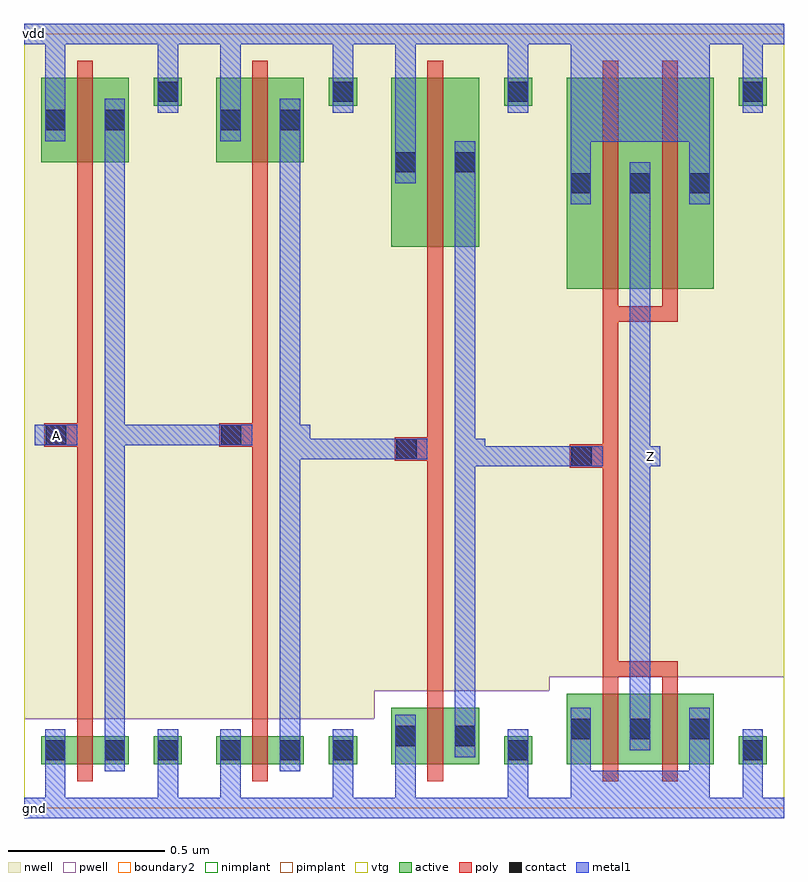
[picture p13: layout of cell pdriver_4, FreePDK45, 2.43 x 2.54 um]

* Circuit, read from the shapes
.subckt pdriver_4 A Z gnd vdd
M1 pinv_8_1/A A gnd gnd nfet w=0.09u l=0.05u
M2 pinv_6_2/A pinv_8_1/A gnd gnd nfet w=0.09u l=0.05u
M3 pinv_15_3/A pinv_6_2/A gnd gnd nfet w=0.18u l=0.05u
M4 Z pinv_15_3/A gnd gnd nfet w=0.225u l=0.05u m=2
M5 pinv_8_1/A A vdd vdd pfet w=0.27u l=0.05u
M6 pinv_6_2/A pinv_8_1/A vdd vdd pfet w=0.27u l=0.05u
M7 pinv_15_3/A pinv_6_2/A vdd vdd pfet w=0.54u l=0.05u
M8 Z pinv_15_3/A vdd vdd pfet w=0.675u l=0.05u m=2
.ends

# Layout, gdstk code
import gdstk
lib = gdstk.Library(unit=1e-6, precision=5e-10)
def R(c, l, rs):  # rectangles x0, y0, x1, y1
    for r in rs: c.add(gdstk.rectangle(r[:2], r[2:], *l))
active = (1, 0)
pwell = (2, 0)
nwell = (3, 0)
nimplant = (4, 0)
pimplant = (5, 0)
vtg = (6, 0)
poly = (9, 0)
contact = (10, 0)
metal1 = (11, 0)
boundary2 = (239, 0)

contact_9 = lib.new_cell('contact_9')
R(contact_9, active, [(0,0.0225,0.09,0.1125)])
R(contact_9, nwell, [(-0.055,-0.0325,0.145,0.1675)])
R(contact_9, pimplant, [(0,0.0225,0.09,0.1125)])
R(contact_9, contact, [(0.0125,0.035,0.0775,0.1)])
R(contact_9, metal1, [(0.0125,0,0.0775,0.135)])

pmos_m1_w0_270_a_p = lib.new_cell('pmos_m1_w0_270_a_p')
R(pmos_m1_w0_270_a_p, active, [(0,0,0.28,0.27)])
R(pmos_m1_w0_270_a_p, nwell, [(-0.055,-0.055,0.335,0.325)])
R(pmos_m1_w0_270_a_p, pimplant, [(0,0,0.28,0.27)])
R(pmos_m1_w0_270_a_p, vtg, [(-0.055,-0.055,0.335,0.325)])
R(pmos_m1_w0_270_a_p, poly, [(0.115,-0.055,0.165,0.325), (0.115,-0.055,0.165,0.325)])
R(pmos_m1_w0_270_a_p, metal1, [(0.0125,0.0675,0.0775,0.2025), (0.2025,0.0675,0.2675,0.2025)])
pmos_m1_w0_270_a_p.add(gdstk.Reference(contact_9, (0,0.0675)))
pmos_m1_w0_270_a_p.add(gdstk.Reference(contact_9, (0.19,0.0675)))
pmos_m1_w0_270_a_p.add(gdstk.Label('G', (0.14,0.135), layer=9, texttype=0))
pmos_m1_w0_270_a_p.add(gdstk.Label('S', (0.045,0.135), layer=11, texttype=0))
pmos_m1_w0_270_a_p.add(gdstk.Label('D', (0.235,0.135), layer=11, texttype=0))

contact_14 = lib.new_cell('contact_14')
R(contact_14, active, [(0,0.0225,0.09,0.1125)])
R(contact_14, pwell, [(-0.055,-0.0325,0.145,0.1675)])
R(contact_14, nimplant, [(0,0.0225,0.09,0.1125)])
R(contact_14, contact, [(0.0125,0.035,0.0775,0.1)])
R(contact_14, metal1, [(0.0125,0,0.0775,0.135)])

nmos_m1_w0_090_a_p = lib.new_cell('nmos_m1_w0_090_a_p')
R(nmos_m1_w0_090_a_p, active, [(0,0,0.28,0.09)])
R(nmos_m1_w0_090_a_p, pwell, [(-0.055,-0.055,0.335,0.145)])
R(nmos_m1_w0_090_a_p, nimplant, [(0,0,0.28,0.09)])
R(nmos_m1_w0_090_a_p, vtg, [(-0.055,-0.055,0.335,0.145)])
R(nmos_m1_w0_090_a_p, poly, [(0.115,-0.055,0.165,0.145), (0.115,-0.055,0.165,0.145)])
R(nmos_m1_w0_090_a_p, metal1, [(0.0125,-0.0225,0.0775,0.1125), (0.2025,-0.0225,0.2675,0.1125)])
nmos_m1_w0_090_a_p.add(gdstk.Reference(contact_14, (0,-0.0225)))
nmos_m1_w0_090_a_p.add(gdstk.Reference(contact_14, (0.19,-0.0225)))
nmos_m1_w0_090_a_p.add(gdstk.Label('G', (0.14,0.045), layer=9, texttype=0))
nmos_m1_w0_090_a_p.add(gdstk.Label('S', (0.045,0.045), layer=11, texttype=0))
nmos_m1_w0_090_a_p.add(gdstk.Label('D', (0.235,0.045), layer=11, texttype=0))

contact_18 = lib.new_cell('contact_18')
R(contact_18, active, [(0,0.0225,0.09,0.1125)])
R(contact_18, nwell, [(-0.055,-0.0325,0.145,0.1675)])
R(contact_18, nimplant, [(0,0.0225,0.09,0.1125)])
R(contact_18, contact, [(0.0125,0.035,0.0775,0.1)])
R(contact_18, metal1, [(0.0125,0,0.0775,0.135)])

contact_19 = lib.new_cell('contact_19')
R(contact_19, active, [(0,0.0225,0.09,0.1125)])
R(contact_19, pwell, [(-0.055,-0.0325,0.145,0.1675)])
R(contact_19, pimplant, [(0,0.0225,0.09,0.1125)])
R(contact_19, contact, [(0.0125,0.035,0.0775,0.1)])
R(contact_19, metal1, [(0.0125,0,0.0775,0.135)])

contact_10 = lib.new_cell('contact_10')
R(contact_10, poly, [(0.03,0,0.105,0.075)])
R(contact_10, contact, [(0.035,0.005,0.1,0.07)])
R(contact_10, metal1, [(0,0.005,0.135,0.07)])

pinv_8 = lib.new_cell('pinv_8')
R(pinv_8, pwell, [(0,-0.0325,0.56,0.285)])
R(pinv_8, nwell, [(0,0.285,0.56,2.5075)])
R(pinv_8, vtg, [(0,-0.0325,0.56,0.285), (0,0.285,0.56,2.5075)])
R(pinv_8, poly, [(0.17,0.085,0.22,2.01), (0.1025,1.155,0.17,1.23)])
R(pinv_8, metal1, [(0,-0.0325,0.56,0.0325), (0.0675,-0.0325,0.1325,0.1175), (0.4275,0,0.4925,0.185), (0.2575,0.1175,0.3225,2.2675), (0.035,1.16,0.17,1.225), (0.29,1.16,0.355,1.225), (0.0675,2.1325,0.1325,2.5075), (0.4275,2.29,0.4925,2.475), (0,2.4425,0.56,2.5075)])
R(pinv_8, boundary2, [(0,0,0.56,2.475)])
pinv_8.add(gdstk.Reference(pmos_m1_w0_270_a_p, (0.055,2.065)))
pinv_8.add(gdstk.Reference(nmos_m1_w0_090_a_p, (0.055,0.14)))
pinv_8.add(gdstk.Reference(contact_18, (0.415,2.2225)))
pinv_8.add(gdstk.Reference(contact_19, (0.415,0.1175)))
pinv_8.add(gdstk.Reference(contact_10, (0.035,1.155)))
pinv_8.add(gdstk.Label('gnd', (0.28,0), layer=11, texttype=0))
pinv_8.add(gdstk.Label('vdd', (0.28,2.475), layer=11, texttype=0))
pinv_8.add(gdstk.Label('A', (0.1025,1.1925), layer=11, texttype=0))
pinv_8.add(gdstk.Label('Z', (0.3225,1.1925), layer=11, texttype=0))

pmos_m1_w0_540_a_p = lib.new_cell('pmos_m1_w0_540_a_p')
R(pmos_m1_w0_540_a_p, active, [(0,0,0.28,0.54)])
R(pmos_m1_w0_540_a_p, nwell, [(-0.055,-0.055,0.335,0.595)])
R(pmos_m1_w0_540_a_p, pimplant, [(0,0,0.28,0.54)])
R(pmos_m1_w0_540_a_p, vtg, [(-0.055,-0.055,0.335,0.595)])
R(pmos_m1_w0_540_a_p, poly, [(0.115,-0.055,0.165,0.595), (0.115,-0.055,0.165,0.595)])
R(pmos_m1_w0_540_a_p, metal1, [(0.0125,0.2025,0.0775,0.3375), (0.2025,0.2025,0.2675,0.3375)])
pmos_m1_w0_540_a_p.add(gdstk.Reference(contact_9, (0,0.2025)))
pmos_m1_w0_540_a_p.add(gdstk.Reference(contact_9, (0.19,0.2025)))
pmos_m1_w0_540_a_p.add(gdstk.Label('G', (0.14,0.27), layer=9, texttype=0))
pmos_m1_w0_540_a_p.add(gdstk.Label('S', (0.045,0.27), layer=11, texttype=0))
pmos_m1_w0_540_a_p.add(gdstk.Label('D', (0.235,0.27), layer=11, texttype=0))

nmos_m1_w0_180_a_p = lib.new_cell('nmos_m1_w0_180_a_p')
R(nmos_m1_w0_180_a_p, active, [(0,0,0.28,0.18)])
R(nmos_m1_w0_180_a_p, pwell, [(-0.055,-0.055,0.335,0.235)])
R(nmos_m1_w0_180_a_p, nimplant, [(0,0,0.28,0.18)])
R(nmos_m1_w0_180_a_p, vtg, [(-0.055,-0.055,0.335,0.235)])
R(nmos_m1_w0_180_a_p, poly, [(0.115,-0.055,0.165,0.235), (0.115,-0.055,0.165,0.235)])
R(nmos_m1_w0_180_a_p, metal1, [(0.0125,0.0225,0.0775,0.1575), (0.2025,0.0225,0.2675,0.1575)])
nmos_m1_w0_180_a_p.add(gdstk.Reference(contact_14, (0,0.0225)))
nmos_m1_w0_180_a_p.add(gdstk.Reference(contact_14, (0.19,0.0225)))
nmos_m1_w0_180_a_p.add(gdstk.Label('G', (0.14,0.09), layer=9, texttype=0))
nmos_m1_w0_180_a_p.add(gdstk.Label('S', (0.045,0.09), layer=11, texttype=0))
nmos_m1_w0_180_a_p.add(gdstk.Label('D', (0.235,0.09), layer=11, texttype=0))

pinv_6 = lib.new_cell('pinv_6')
R(pinv_6, pwell, [(0,-0.0325,0.56,0.375)])
R(pinv_6, nwell, [(0,0.375,0.56,2.5075)])
R(pinv_6, vtg, [(0,-0.0325,0.56,0.375), (0,0.375,0.56,2.5075)])
R(pinv_6, poly, [(0.17,0.085,0.22,1.74), (0.1025,1.11,0.17,1.185)])
R(pinv_6, metal1, [(0,-0.0325,0.56,0.0325), (0.0675,-0.0325,0.1325,0.1625), (0.4275,0,0.4925,0.185), (0.2575,0.1625,0.3225,2.1325), (0.035,1.115,0.17,1.18), (0.29,1.115,0.355,1.18), (0.0675,1.9975,0.1325,2.5075), (0.4275,2.29,0.4925,2.475), (0,2.4425,0.56,2.5075)])
R(pinv_6, boundary2, [(0,0,0.56,2.475)])
pinv_6.add(gdstk.Reference(pmos_m1_w0_540_a_p, (0.055,1.795)))
pinv_6.add(gdstk.Reference(nmos_m1_w0_180_a_p, (0.055,0.14)))
pinv_6.add(gdstk.Reference(contact_18, (0.415,2.2225)))
pinv_6.add(gdstk.Reference(contact_19, (0.415,0.1175)))
pinv_6.add(gdstk.Reference(contact_10, (0.035,1.11)))
pinv_6.add(gdstk.Label('gnd', (0.28,0), layer=11, texttype=0))
pinv_6.add(gdstk.Label('vdd', (0.28,2.475), layer=11, texttype=0))
pinv_6.add(gdstk.Label('A', (0.1025,1.1475), layer=11, texttype=0))
pinv_6.add(gdstk.Label('Z', (0.3225,1.1475), layer=11, texttype=0))

pmos_m2_w0_675_a_p = lib.new_cell('pmos_m2_w0_675_a_p')
R(pmos_m2_w0_675_a_p, active, [(0,0,0.47,0.675)])
R(pmos_m2_w0_675_a_p, nwell, [(-0.055,-0.055,0.525,0.73)])
R(pmos_m2_w0_675_a_p, pimplant, [(0,0,0.47,0.675)])
R(pmos_m2_w0_675_a_p, vtg, [(-0.055,-0.055,0.525,0.73)])
R(pmos_m2_w0_675_a_p, poly, [(0.115,-0.105,0.355,-0.055), (0.115,-0.055,0.165,0.73), (0.305,-0.055,0.355,0.73)])
R(pmos_m2_w0_675_a_p, metal1, [(0.2025,0.27,0.2675,0.405), (0.0125,0.3375,0.0775,0.5025), (0.3925,0.3375,0.4575,0.5025), (0.0125,0.47,0.4575,0.535)])
pmos_m2_w0_675_a_p.add(gdstk.Reference(contact_9, (0,0.27)))
pmos_m2_w0_675_a_p.add(gdstk.Reference(contact_9, (0.38,0.27)))
pmos_m2_w0_675_a_p.add(gdstk.Reference(contact_9, (0.19,0.27)))
pmos_m2_w0_675_a_p.add(gdstk.Label('G', (0.235,-0.08), layer=9, texttype=0))
pmos_m2_w0_675_a_p.add(gdstk.Label('S', (0.235,0.5025), layer=11, texttype=0))
pmos_m2_w0_675_a_p.add(gdstk.Label('D', (0.235,0.3375), layer=11, texttype=0))

nmos_m2_w0_225_a_p = lib.new_cell('nmos_m2_w0_225_a_p')
R(nmos_m2_w0_225_a_p, active, [(0,0,0.47,0.225)])
R(nmos_m2_w0_225_a_p, pwell, [(-0.055,-0.055,0.525,0.28)])
R(nmos_m2_w0_225_a_p, nimplant, [(0,0,0.47,0.225)])
R(nmos_m2_w0_225_a_p, vtg, [(-0.055,-0.055,0.525,0.28)])
R(nmos_m2_w0_225_a_p, poly, [(0.115,-0.055,0.165,0.28), (0.305,-0.055,0.355,0.28), (0.115,0.28,0.355,0.33)])
R(nmos_m2_w0_225_a_p, metal1, [(0.0125,-0.085,0.4575,-0.02), (0.0125,-0.0525,0.0775,0.1125), (0.3925,-0.0525,0.4575,0.1125), (0.2025,0.045,0.2675,0.18)])
nmos_m2_w0_225_a_p.add(gdstk.Reference(contact_14, (0,0.045)))
nmos_m2_w0_225_a_p.add(gdstk.Reference(contact_14, (0.38,0.045)))
nmos_m2_w0_225_a_p.add(gdstk.Reference(contact_14, (0.19,0.045)))
nmos_m2_w0_225_a_p.add(gdstk.Label('G', (0.235,0.305), layer=9, texttype=0))
nmos_m2_w0_225_a_p.add(gdstk.Label('S', (0.235,-0.0525), layer=11, texttype=0))
nmos_m2_w0_225_a_p.add(gdstk.Label('D', (0.235,0.1125), layer=11, texttype=0))

pinv_15 = lib.new_cell('pinv_15')
R(pinv_15, pwell, [(0,-0.0325,0.75,0.42)])
R(pinv_15, nwell, [(0,0.42,0.75,2.5075)])
R(pinv_15, vtg, [(0,-0.0325,0.75,0.42), (0,0.42,0.75,2.5075)])
R(pinv_15, poly, [(0.17,0.42,0.22,1.555), (0.1025,1.0875,0.17,1.1625)])
R(pinv_15, metal1, [(0,-0.0325,0.75,0.0325), (0.0675,-0.0325,0.5125,0.055), (0.6175,0,0.6825,0.185), (0.2575,0.185,0.3225,2.065), (0.035,1.0925,0.17,1.1575), (0.29,1.0925,0.355,1.1575), (0.0675,2.13,0.5125,2.5075), (0.6175,2.29,0.6825,2.475), (0,2.4425,0.75,2.5075)])
R(pinv_15, boundary2, [(0,0,0.75,2.475)])
pinv_15.add(gdstk.Reference(pmos_m2_w0_675_a_p, (0.055,1.66)))
pinv_15.add(gdstk.Reference(nmos_m2_w0_225_a_p, (0.055,0.14)))
pinv_15.add(gdstk.Reference(contact_18, (0.605,2.2225)))
pinv_15.add(gdstk.Reference(contact_19, (0.605,0.1175)))
pinv_15.add(gdstk.Reference(contact_10, (0.035,1.0875)))
pinv_15.add(gdstk.Label('gnd', (0.375,0), layer=11, texttype=0))
pinv_15.add(gdstk.Label('vdd', (0.375,2.475), layer=11, texttype=0))
pinv_15.add(gdstk.Label('A', (0.1025,1.125), layer=11, texttype=0))
pinv_15.add(gdstk.Label('Z', (0.3225,1.125), layer=11, texttype=0))

pdriver_4 = lib.new_cell('pdriver_4')
R(pdriver_4, metal1, [(0,-0.0325,0.065,0.0325), (1.41,1.0925,1.475,1.1575), (1.4425,1.0925,1.7825,1.1575), (1.97,1.0925,2.035,1.1575), (0.85,1.115,0.915,1.18), (0.8825,1.115,1.2225,1.18), (1.41,1.125,1.475,1.1475), (0.85,1.1475,0.915,1.1925), (0.035,1.16,0.17,1.225), (0.3225,1.16,0.6625,1.225), (0,2.4425,0.065,2.5075)])
R(pdriver_4, boundary2, [(0,0,2.43,2.475)])
pdriver_4.add(gdstk.Reference(pinv_8, (0,0)))
pdriver_4.add(gdstk.Reference(pinv_8, (0.56,0)))
pdriver_4.add(gdstk.Reference(pinv_6, (1.12,0)))
pdriver_4.add(gdstk.Reference(pinv_15, (1.68,0)))
pdriver_4.add(gdstk.Label('vdd', (0.0325,2.475), layer=11, texttype=0))
pdriver_4.add(gdstk.Label('gnd', (0.0325,0), layer=11, texttype=0))
pdriver_4.add(gdstk.Label('Z', (2.0025,1.125), layer=11, texttype=0))
pdriver_4.add(gdstk.Label('A', (0.1025,1.1925), layer=11, texttype=0))

lib.write_gds('pdriver_4.gds')
